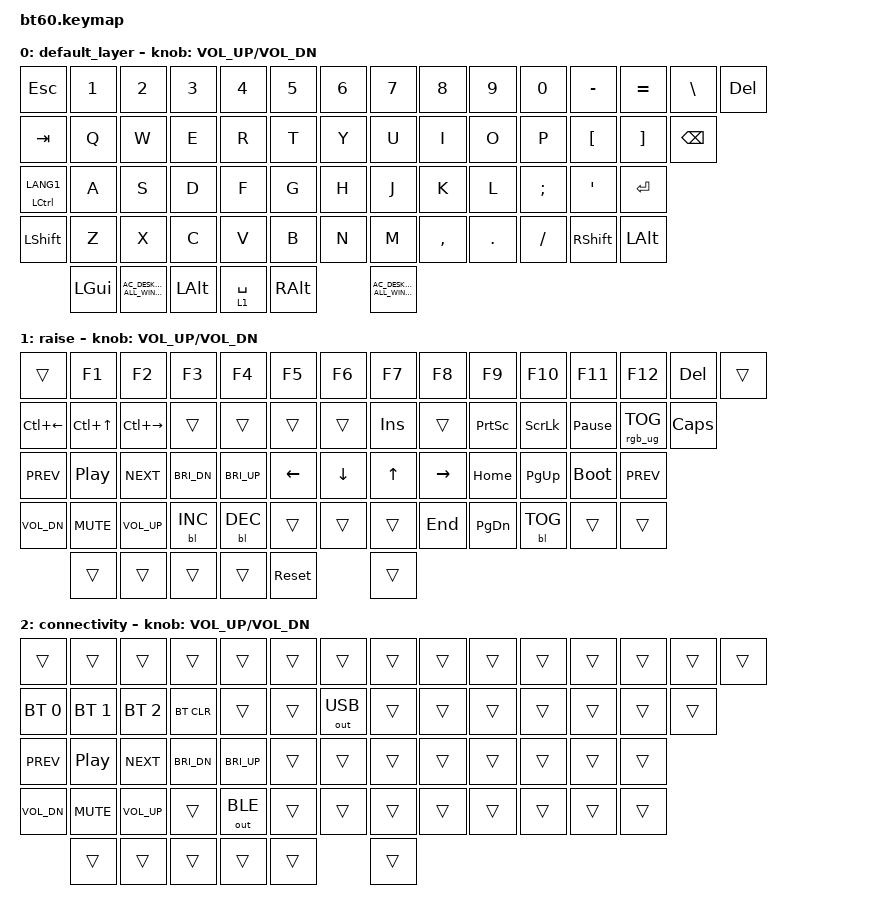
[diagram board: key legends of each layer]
#include <behaviors.dtsi>
#include <dt-bindings/zmk/backlight.h>
#include <dt-bindings/zmk/bt.h>
#include <dt-bindings/zmk/keys.h>
#include <dt-bindings/zmk/outputs.h>
#include <dt-bindings/zmk/rgb.h>

/ {
    keymap {
        compatible = "zmk,keymap";

        default_layer {
            // ------------------------------------------------------------------------------------------
            // |  `  |  1  |  2  |  3  |  4  |  5  |  6  |  7  |  8  |  9  |  0  |  -  |  =  |   BKSP
            // | TAB  |  Q  |  W  |  E  |  R  |  T  |  Y  |  U  |  I  |  O  |  P  |  [  |  ]  |   |
            // | CAPS  |  A  |  S  |  D  |  F  |  G  |  H  |  J  |  K  |  L  |  ;  |  '  |     ENTER
            // |  SHIFT    |  Z  |  X  |  C  |  V  |  B  |  N  |  M  |  ,  |  .  | /   |      SHIFT
            // |  CTL  |  WIN  |  ALT  |            SPACE               | ALT | 1    |  MENU    |  CTRL
            // ------------------------------------------------------------------------------------------

            bindings = <
&kp ESC          &kp N1    &kp N2                             &kp N3        &kp N4       &kp N5         &kp N6  &kp N7                             &kp N8     &kp N9      &kp N0         &kp MINUS         &kp EQUAL          &kp BACKSLASH  &kp DELETE
&kp TAB          &kp Q     &kp W                              &kp E         &kp R        &kp T          &kp Y   &kp U                              &kp I      &kp O       &kp P          &kp LEFT_BRACKET  &kp RIGHT_BRACKET  &kp BACKSPACE
&mt LCTRL LANG1  &kp A     &kp S                              &kp D         &kp F        &kp G          &kp H   &kp J                              &kp K      &kp L       &kp SEMICOLON  &kp SQT           &kp ENTER
&kp LEFT_SHIFT   &kp Z     &kp X                              &kp C         &kp V        &kp B          &kp N   &kp M                              &kp COMMA  &kp PERIOD  &kp SLASH      &kp RIGHT_SHIFT   &kp LALT
                 &kp LGUI  &kp C_AC_DESKTOP_SHOW_ALL_WINDOWS  &kp LEFT_ALT  &lt 1 SPACE  &kp RIGHT_ALT          &kp C_AC_DESKTOP_SHOW_ALL_WINDOWS
            >;

            sensor-bindings = <&inc_dec_kp C_VOL_UP C_VOL_DN>;
        };

        raise {
            bindings = <
&trans        &kp F1            &kp F2         &kp F3        &kp F4        &kp F5      &kp F6    &kp F7   &kp F8     &kp F9     &kp F10     &kp F11          &kp F12          &kp DEL   &trans
&kp LC(LEFT)  &kp LC(UP)        &kp LC(RIGHT)  &trans        &trans        &trans      &trans    &kp INS  &trans     &kp PSCRN  &kp SLCK    &kp PAUSE_BREAK  &rgb_ug RGB_TOG  &kp CAPS
&kp C_PREV    &kp C_PLAY_PAUSE  &kp C_NEXT     &kp C_BRI_DN  &kp C_BRI_UP  &kp LEFT    &kp DOWN  &kp UP   &kp RIGHT  &kp HOME   &kp PG_UP   &bootloader      &kp C_PREV
&kp C_VOL_DN  &kp C_MUTE        &kp C_VOL_UP   &bl BL_INC    &bl BL_DEC    &trans      &trans    &trans   &kp END    &kp PG_DN  &bl BL_TOG  &trans           &trans
              &trans            &trans         &trans        &trans        &sys_reset            &trans
            >;

            sensor-bindings = <&inc_dec_kp C_VOL_UP C_VOL_DN>;
        };

        connectivity {
            bindings = <
&trans        &trans            &trans        &trans        &trans        &trans  &trans        &trans  &trans  &trans  &trans  &trans  &trans  &trans  &trans
&bt BT_SEL 0  &bt BT_SEL 1      &bt BT_SEL 2  &bt BT_CLR    &trans        &trans  &out OUT_USB  &trans  &trans  &trans  &trans  &trans  &trans  &trans
&kp C_PREV    &kp C_PLAY_PAUSE  &kp C_NEXT    &kp C_BRI_DN  &kp C_BRI_UP  &trans  &trans        &trans  &trans  &trans  &trans  &trans  &trans
&kp C_VOL_DN  &kp C_MUTE        &kp C_VOL_UP  &trans        &out OUT_BLE  &trans  &trans        &trans  &trans  &trans  &trans  &trans  &trans
              &trans            &trans        &trans        &trans        &trans                &trans
            >;

            sensor-bindings = <&inc_dec_kp C_VOL_UP C_VOL_DN>;
        };
    };
};
